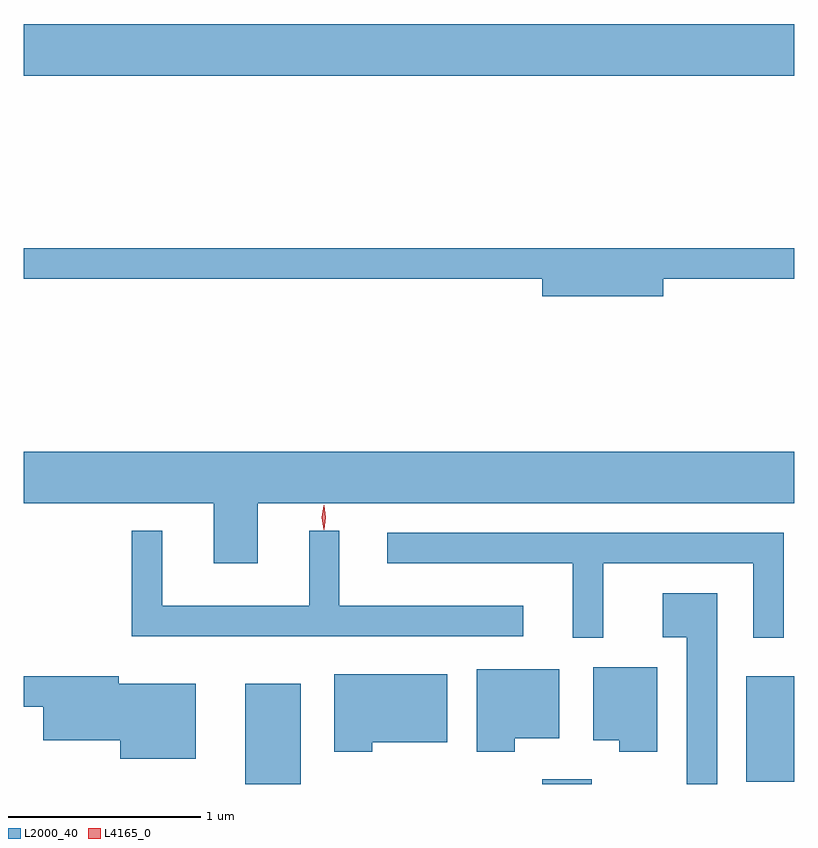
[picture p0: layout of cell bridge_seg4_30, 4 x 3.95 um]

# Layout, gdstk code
import gdstk
lib = gdstk.Library(unit=1e-6, precision=1e-09)
def R(c, l, rs):  # rectangles x0, y0, x1, y1
    for r in rs: c.add(gdstk.rectangle(r[:2], r[2:], *l))
def P(c, l, *ps):  # polygons
    for p in ps: c.add(gdstk.Polygon(p, *l))
L2000_40 = (2000, 40)
L4165_0 = (4165, 0)

bridge_seg4_30 = lib.new_cell('bridge_seg4_30')
R(bridge_seg4_30, L2000_40, [(1169.066,1277.739,1169.354,1278.259), (1170.606,1277.739,1170.864,1277.764), (1171.666,1277.751,1171.915,1278.299), (1167.915,1281.416,1171.915,1281.684)])
P(bridge_seg4_30, L2000_40, [(1171.234,1280.361),(1171.915,1280.361),(1171.915,1280.519),(1167.915,1280.519),(1167.915,1280.361),(1170.606,1280.361),(1170.606,1280.271),(1171.234,1280.271)],
  [(1169.129,1279.196),(1171.915,1279.196),(1171.915,1279.464),(1167.915,1279.464),(1167.915,1279.196),(1168.901,1279.196),(1168.901,1278.886),(1169.129,1278.886)],
  [(1170.508,1278.664),(1169.554,1278.664),(1169.554,1279.053),(1169.396,1279.053),(1169.396,1278.664),(1168.634,1278.664),(1168.634,1279.053),(1168.476,1279.053),(1168.476,1278.506),(1170.508,1278.506)],
  [(1170.924,1278.886),(1171.701,1278.886),(1171.701,1278.498),(1171.859,1278.498),(1171.859,1279.044),(1169.803,1279.044),(1169.803,1278.886),(1170.766,1278.886),(1170.766,1278.498),(1170.924,1278.498)],
  [(1171.514,1278.729),(1171.231,1278.729),(1171.231,1278.501),(1171.356,1278.501),(1171.356,1277.739),(1171.514,1277.739)],
  [(1171.204,1278.344),(1170.871,1278.344),(1170.871,1277.966),(1171.006,1277.966),(1171.006,1277.906),(1171.204,1277.906)],
  [(1170.464,1277.976),(1170.694,1277.976),(1170.694,1278.334),(1170.266,1278.334),(1170.266,1277.906),(1170.464,1277.906)],
  [(1169.724,1277.956),(1170.114,1277.956),(1170.114,1278.309),(1169.526,1278.309),(1169.526,1277.906),(1169.724,1277.906)],
  [(1168.809,1278.259),(1168.409,1278.259),(1168.409,1278.299),(1167.915,1278.299),(1167.915,1278.141),(1168.016,1278.141),(1168.016,1277.966),(1168.416,1277.966),(1168.416,1277.871),(1168.809,1277.871)])
P(bridge_seg4_30, L4165_0, [(1169.473,1279.058),(1169.473,1279.058),(1169.463,1279.122),(1169.472,1279.186),(1169.473,1279.187),(1169.474,1279.186),(1169.483,1279.122),(1169.474,1279.058)])

lib.write_gds('bridge_seg4_30.gds')
